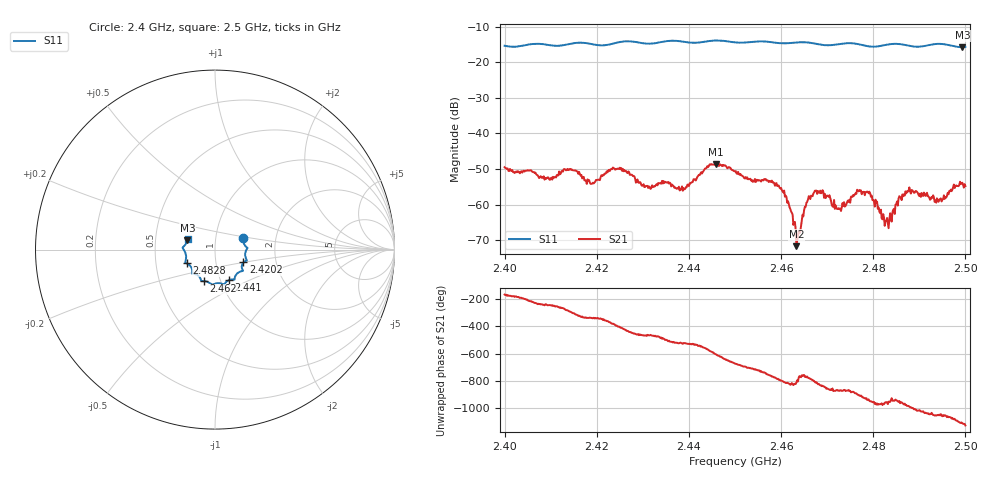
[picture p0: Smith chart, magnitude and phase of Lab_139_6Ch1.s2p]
# Hz S RI R 50
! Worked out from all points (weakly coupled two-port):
!   601 points, 2.4 GHz to 2.5 GHz, reference 50 ohm
!   highest |S21| = -48.57 dB at 2.4458 GHz (marker M1); lowest = -71.6 dB at 2.4633 GHz (marker M2)
!   lowest |S11| = -15.8 dB at 2.4993 GHz (marker M3), VSWR 1.39, Z = 36.5 + j3.85 ohm
!   |S11| at or under -10 dB: start of sweep to end of sweep
!   S12 and S22 are empty: the file has one direction only
!   S11 on the Smith chart (normalised r, x): 2.4 GHz: 1.36, +0.18; 2.4202 GHz: 1.36, -0.20; 2.441 GHz: 1.10, -0.39; 2.462 GHz: 0.84, -0.30; 2.4828 GHz: 0.72, -0.11; 2.5 GHz: 0.73, +0.09
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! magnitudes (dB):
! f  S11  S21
! 2.4 GHz  -15.4  -49.5
! 2.4167 GHz  -14.5  -51.7
! 2.4202 GHz  -15.2  -53.0
! 2.4248 GHz  -14.4  -49.9
! 2.4333 GHz  -14.5  -53.9
! 2.441 GHz  -14.6  -52.8
! 2.4458 GHz  -13.9  -48.6
! 2.45 GHz  -14.4  -50.7
! 2.4585 GHz  -14.5  -53.9
! 2.462 GHz  -14.6  -61.2
! 2.4633 GHz  -14.5  -71.6
! 2.4638 GHz  -14.4  -67.3
! 2.4667 GHz  -14.6  -57.6
! 2.4687 GHz  -15.1  -56.8
! 2.4727 GHz  -14.9  -61.2
! 2.4788 GHz  -15.5  -56.3
! 2.4828 GHz  -15.1  -64.6
! 2.4833 GHz  -15.0  -66.6
! 2.4875 GHz  -15.3  -56.3
! 2.4938 GHz  -14.9  -58.2
! 2.4993 GHz  -15.8  -53.8
! 2.5 GHz  -15.7  -54.7
